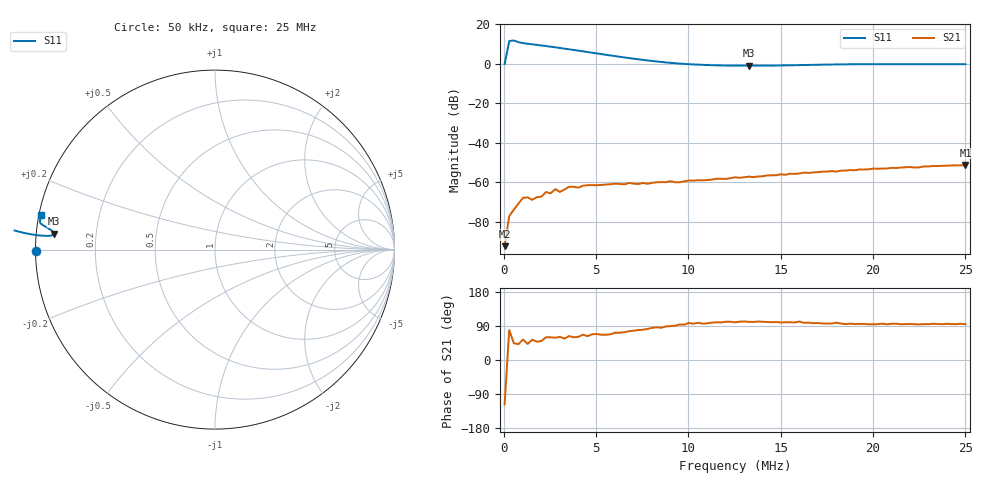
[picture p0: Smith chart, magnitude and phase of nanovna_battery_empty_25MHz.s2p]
! NanoVNA-App
! Date: 2025-01-28 11:27:07
! Start: 50kHz Stop: 25MHz Points: 101
! S-Parameter data: F S11 S21 S12 S22
# Hz S RI R 50
!  Frequency  S11_Real  S11_Imag  S21_Real  S21_Imag  S12_Real  S12_Imag  S22_Real  S22_Imag
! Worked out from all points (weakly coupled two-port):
!   101 points, 50 kHz to 25 MHz, reference 50 ohm
!   highest |S21| = -51.19 dB at 25 MHz (marker M1); lowest = -92.2 dB at 50 kHz (marker M2)
!   lowest |S11| = -0.9 dB at 13.27 MHz (marker M3), VSWR 19.34, Z = 2.59 + j2.45 ohm
!   |S11| at or under -10 dB: nowhere
!   S12 and S22 are empty: the file has one direction only
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50000  -0.9978 -0.00596  -1.12e-05 -2.18e-05  0 0  0 0
299500  -3.789 -0.0489  2.65e-05 0.000138  0 0  0 0
549000  -3.575 1.624  0.000147 0.000143  0 0  0 0
798500  -3.111 1.72  0.000217 0.000194  0 0  0 0
1048000  -2.931 1.657  0.000241 0.000331  0 0  0 0
1297500  -2.829 1.582  0.000309 0.000284  0 0  0 0
1547000  -2.75 1.5  0.000217 0.000293  0 0  0 0
2046000  -2.612 1.33  0.000281 0.000338  0 0  0 0
2295500  -2.545 1.24  0.000286 0.000498  0 0  0 0
2545000  -2.477 1.15  0.000267 0.000461  0 0  0 0
2794500  -2.409 1.061  0.000351 0.00058  0 0  0 0
3044000  -2.339 0.9741  0.00028 0.000506  0 0  0 0
3543000  -2.201 0.8127  0.000351 0.000694  0 0  0 0
4291500  -1.992 0.6049  0.000326 0.000762  0 0  0 0
6287500  -1.493 0.2556  0.000283 0.000872  0 0  0 0
8533000  -1.116 0.1063  8.86e-05 0.00102  0 0  0 0
1.02795e7  -0.9681 0.078  -0.000115 0.00111  0 0  0 0
1.2525e7  -0.9016 0.083  -0.000222 0.00134  0 0  0 0
1.32735e7  -0.8973 0.0884  -0.000261 0.00138  0 0  0 0
1.67665e7  -0.9395 0.1252  -0.000226 0.00178  0 0  0 0
2.1008e7  -0.9747 0.1628  -0.000233 0.00233  0 0  0 0
2.5e7  -0.9675 0.1918  -0.000212 0.00275  0 0  0 0
